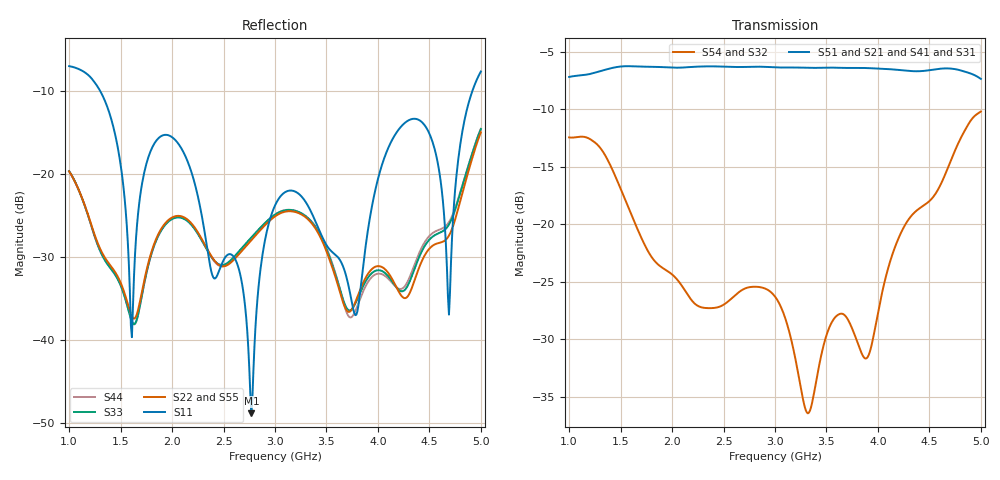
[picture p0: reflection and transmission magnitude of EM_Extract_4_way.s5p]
! AWR Design Environment (19377) Sat Dec 27 13:52:15 2025
! Document = 'EM_Extract_4_way'
! nPorts: 5, nXvals: 401
# GHz S DB R 50
!Freq DBS11 AngS11 DBS12 AngS12 DBS13 AngS13 DBS14 AngS14
!	DBS15 AngS15
!	DBS21 AngS21 DBS22 AngS22 DBS23 AngS23 DBS24 AngS24
!	DBS25 AngS25
!	DBS31 AngS31 DBS32 AngS32 DBS33 AngS33 DBS34 AngS34
!	DBS35 AngS35
!	DBS41 AngS41 DBS42 AngS42 DBS43 AngS43 DBS44 AngS44
!	DBS45 AngS45
!	DBS51 AngS51 DBS52 AngS52 DBS53 AngS53 DBS54 AngS54
!	DBS55 AngS55
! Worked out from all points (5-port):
!   401 points, 1 GHz to 5 GHz, reference 50 ohm
!   strongest paths, dB at 1 GHz, 2 GHz, 3 GHz, 4 GHz, 5 GHz:
!     S51: -7.2, -6.4, -6.3, -6.5, -7.4
!     S21: -7.2, -6.4, -6.4, -6.5, -7.3
!     S41: -7.2, -6.4, -6.4, -6.5, -7.4
!     S31: -7.2, -6.4, -6.4, -6.5, -7.4
!     S54: -12.4, -24.4, -26.3, -27.7, -10.2
!     S32: -12.4, -24.4, -26.2, -27.7, -10.2
!   lowest |S11| = -48.9 dB at 2.77 GHz (marker M1), VSWR 1.01, Z = 50 - j0.357 ohm
!   |S11| at or under -10 dB: 1.304 GHz to 4.916 GHz (3.613 GHz wide, 116 % of centre)
